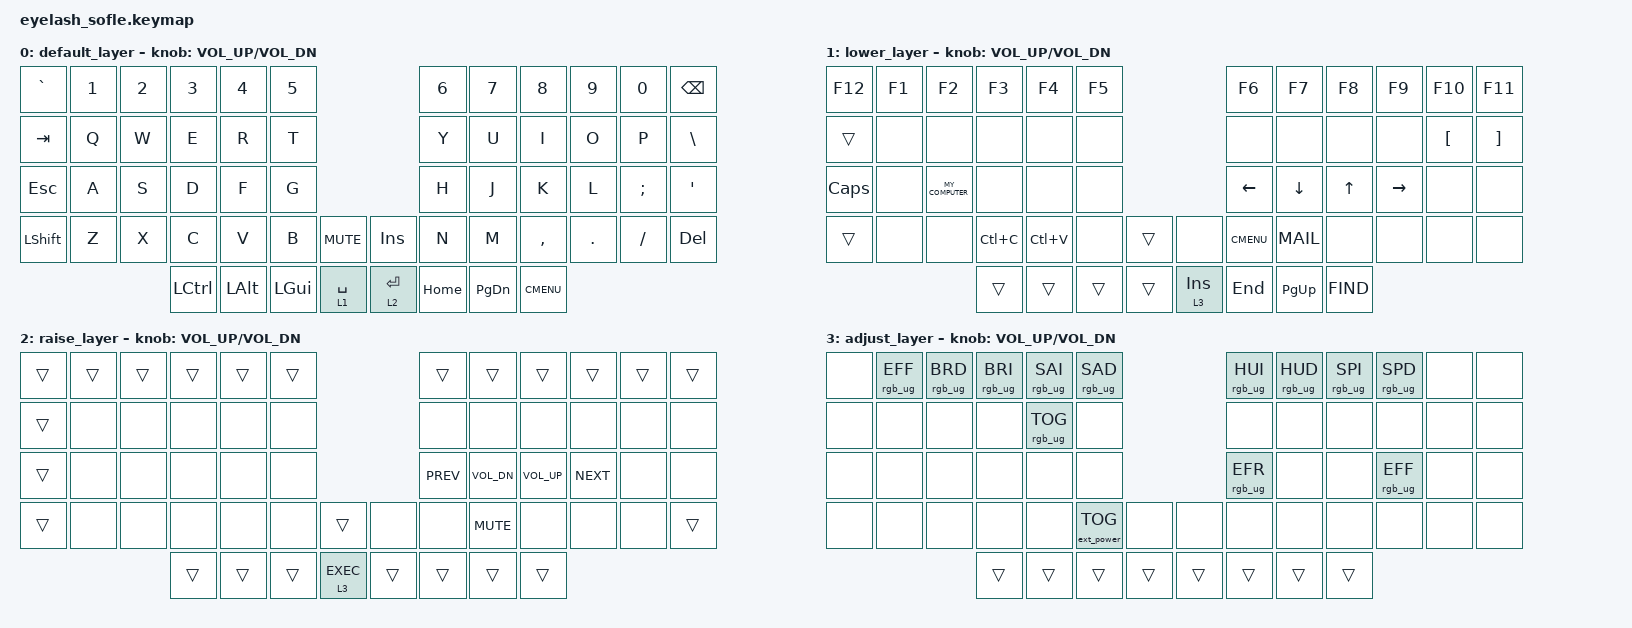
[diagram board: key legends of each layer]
/*
 * Copyright (c) 2020 The ZMK Contributors
 *
 * SPDX-License-Identifier: MIT
 */

#include <behaviors.dtsi>
#include <dt-bindings/zmk/keys.h>
#include <dt-bindings/zmk/bt.h>
#include <dt-bindings/zmk/rgb.h>
#include <dt-bindings/zmk/ext_power.h>

/ {
    keymap {
        compatible = "zmk,keymap";
        
        default_layer {
// ------------------------------------------------------------------------------------------------------------
// |  GRV  |  1  |  2  |  3   |  4   |  5   |                   |  6   |  7    |  8    |  9   |   0   | BSPC  |
// |  TAB  |  Q  |  W  |  E   |  R   |  T   |                   |  Y   |  U    |  I    |  O   |   P   |  BSLS |
// |  ESC  |  A  |  S  |  D   |  F   |  G   |                   |  H   |  J    |  K    |  L   |   ;   |   '   |
// | SHIFT |  Z  |  X  |  C   |  V   |  B   |   MUTE   |  | INS |  N   |  M    |  ,    |  .   |   /   |  DEL  |
//                     | CTRL | ALT  | GUI  | LOWER/SPC|  | ENT/RAISE|  HOME | PG_DN | APP |
            bindings = <
&kp GRAVE &kp N1 &kp N2 &kp N3   &kp N4   &kp N5                        &kp N6   &kp N7   &kp N8    &kp N9  &kp N0   &kp BSPC
&kp TAB   &kp Q  &kp W  &kp E    &kp R    &kp T                         &kp Y    &kp U    &kp I     &kp O   &kp P    &kp BSLH
&kp ESC   &kp A  &kp S  &kp D    &kp F    &kp G                         &kp H    &kp J    &kp K     &kp L   &kp SEMI &kp SQT
&kp LSHFT &kp Z  &kp X  &kp C    &kp V    &kp B  &kp C_MUTE   &kp INS    &kp N    &kp M    &kp COMMA &kp DOT &kp FSLH &kp DEL
                        &kp LCTRL &kp LALT &kp LGUI &lt 1 SPACE &lt 2 RET &kp HOME &kp PG_DN &kp K_CMENU
            >;
            sensor-bindings = <&inc_dec_kp C_VOL_UP C_VOL_DN>;
        };
        
        lower_layer {
// ------------------------------------------------------------------------------------------------------------
// |  F12  | F1  | F2  | F3   | F4   | F5   |                   | F6   | F7   | F8   | F9   | F10  | F11   |
// | TRANS |     |     |      |      |      |                   |      |      |      |      | [    | ]     |
// | CAPS  |     | MYCP|      |      |      |                   | LEFT | DOWN | UP   | RIGHT|      |       |
// | TRANS |     |     | COPY | PASTE|      | TRANS   |  |      | MSEL | MAIL |      |      |      |       |
//                     | TRANS| TRANS| TRANS| TRANS   |  | INS/L3| END | PG_UP| FIND |
            bindings = <
&kp F12 &kp F1 &kp F2 &kp F3    &kp F4    &kp F5                          &kp F6   &kp F7     &kp F8   &kp F9    &kp F10  &kp F11
&trans  &none  &none  &none     &none     &none                           &none    &none      &none    &none     &kp LBKT &kp RBKT
&kp CAPS &none &kp K_MY_COMPUTER &none    &none     &none                  &kp LEFT &kp DOWN   &kp UP   &kp RIGHT &none    &none
&trans  &none  &none  &kp LC(C) &kp LC(V) &none  &trans       &none       &kp K_CMENU &kp K_MAIL &none &none     &none    &none
                      &trans    &trans    &trans &trans       &lt 3 INS   &kp END  &kp PG_UP  &kp K_FIND
            >;
            sensor-bindings = <&inc_dec_kp C_VOL_UP C_VOL_DN>;
        };
        
        raise_layer {
// ------------------------------------------------------------------------------------------------------------
// | TRANS | TRANS| TRANS| TRANS| TRANS| TRANS|                  | TRANS| TRANS| TRANS| TRANS| TRANS| TRANS |
// | TRANS |      |      |      |      |      |                  |      |      |      |      |      |       |
// | TRANS |      |      |      |      |      |                  | MPRV | VOLD | VOLU | MNXT |      |       |
// | TRANS |      |      |      |      |      | TRANS   |  |     |      | MUTE |      |      |      | TRANS |
//                       | TRANS| TRANS| TRANS| L3/EXEC |  | TRANS| TRANS| TRANS| TRANS|
            bindings = <
&trans &trans &trans &trans &trans &trans                       &trans   &trans       &trans       &trans    &trans &trans
&trans &none  &none  &none  &none  &none                        &none    &none        &none        &none     &none  &none
&trans &none  &none  &none  &none  &none                        &kp C_PREV &kp C_VOL_DN &kp C_VOL_UP &kp C_NEXT &none &none
&trans &none  &none  &none  &none  &none  &trans     &none      &none    &kp C_MUTE   &none        &none     &none  &trans
                     &trans &trans &trans &lt 3 K_EXEC &trans   &trans   &trans       &trans
            >;
            sensor-bindings = <&inc_dec_kp C_VOL_UP C_VOL_DN>;
        };
        
        adjust_layer {
// ------------------------------------------------------------------------------------------------------------
// |       | RGB_P| RGB_B| RGB_R|RGB_SW|RGB_SN|                  | RGB_K| RGB_X| RGB_G| RGB_T|      |       |
// |       |      |      |      |RGB_TOG|     |                  |      |      |      |      |      |       |
// |       |      |      |      |      |      |                  |RGB_RMD|     |      |RGB_MOD|     |       |
// |       |      |      |      |      |BL_TOG|      |  |        |      |      |      |      |      |       |
//                       | TRANS| TRANS| TRANS| TRANS|  | TRANS  | TRANS| TRANS| TRANS|
            bindings = <
&none &rgb_ug RGB_EFF &rgb_ug RGB_BRD &rgb_ug RGB_BRI &rgb_ug RGB_SAI &rgb_ug RGB_SAD                    &rgb_ug RGB_HUI &rgb_ug RGB_HUD &rgb_ug RGB_SPI &rgb_ug RGB_SPD &none &none
&none &none           &none           &none           &rgb_ug RGB_TOG &none                              &none           &none           &none           &none           &none &none
&none &none           &none           &none           &none           &none                              &rgb_ug RGB_EFR &none           &none           &rgb_ug RGB_EFF &none &none
&none &none           &none           &none           &none           &ext_power EP_TOG &none     &none &none           &none           &none           &none           &none &none
                                      &trans          &trans          &trans            &trans    &trans &trans         &trans          &trans
            >;
            sensor-bindings = <&inc_dec_kp C_VOL_UP C_VOL_DN>;
        };
    };
};
